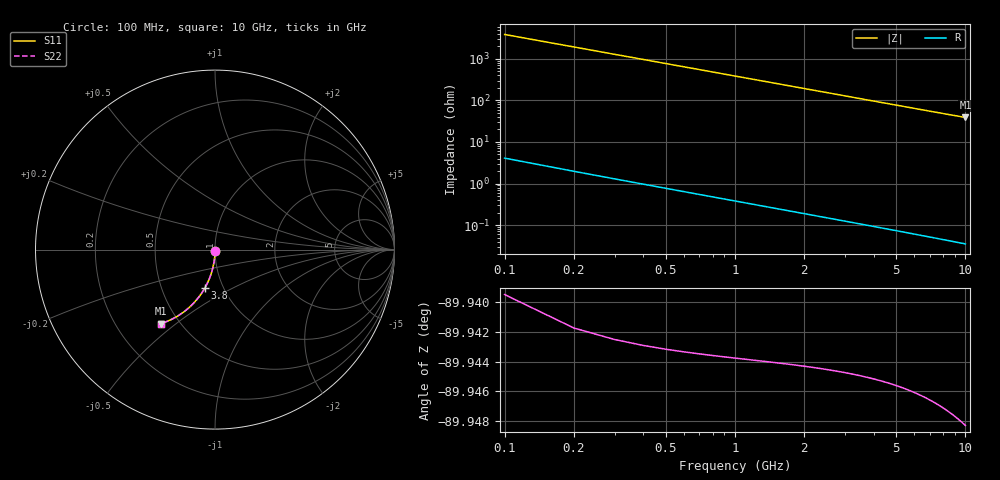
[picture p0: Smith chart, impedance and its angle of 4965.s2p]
# Hz S RI R 50.00
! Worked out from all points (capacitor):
!   100 points, 100 MHz to 10 GHz, reference 50 ohm
!   read as one part in shunt: C = 411 fF near 100 MHz
!   lowest |Z| = 38.9 ohm at 10 GHz (marker M1)
!   S11 on the Smith chart (normalised r, x): 100 MHz: 1.00, -0.01; 3.8 GHz: 0.82, -0.37; 10 GHz: 0.40, -0.44
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1e8  6.82e-05 -0.006  0.9998 -0.00691  0.9998 -0.00691  6.82e-05 -0.006
2e8  -6.16e-05 -0.012  0.9997 -0.0138  0.9997 -0.0138  -6.16e-05 -0.012
3e8  -0.000274 -0.018  0.9995 -0.0207  0.9995 -0.0207  -0.000274 -0.018
4e8  -0.00057 -0.024  0.9992 -0.0276  0.9992 -0.0276  -0.00057 -0.024
5e8  -0.000949 -0.03  0.9988 -0.0345  0.9988 -0.0345  -0.000949 -0.03
6e8  -0.00141 -0.0359  0.9983 -0.0414  0.9983 -0.0414  -0.00141 -0.0359
7e8  -0.00195 -0.0419  0.9978 -0.0483  0.9978 -0.0483  -0.00195 -0.0419
8e8  -0.00258 -0.0479  0.9972 -0.0552  0.9972 -0.0552  -0.00258 -0.0479
9e8  -0.00329 -0.0538  0.9964 -0.062  0.9964 -0.062  -0.00329 -0.0538
1.1e9  -0.00495 -0.0657  0.9948 -0.0757  0.9948 -0.0757  -0.00495 -0.0657
1.4e9  -0.00804 -0.0833  0.9916 -0.0961  0.9916 -0.0961  -0.00804 -0.0833
1.8e9  -0.0133 -0.1066  0.9863 -0.1231  0.9863 -0.1231  -0.0133 -0.1066
2.1e9  -0.018 -0.1238  0.9815 -0.143  0.9815 -0.143  -0.018 -0.1238
2.5e9  -0.0254 -0.1462  0.9741 -0.1692  0.9741 -0.1692  -0.0254 -0.1462
2.9e9  -0.034 -0.1682  0.9654 -0.1948  0.9654 -0.1948  -0.034 -0.1682
3.4e9  -0.0462 -0.1947  0.953 -0.2259  0.953 -0.2259  -0.0462 -0.1947
3.8e9  -0.0572 -0.2151  0.9419 -0.25  0.9419 -0.25  -0.0572 -0.2151
4.4e9  -0.0754 -0.2442  0.9235 -0.2847  0.9235 -0.2847  -0.0754 -0.2442
5.1e9  -0.0991 -0.2756  0.8996 -0.3227  0.8996 -0.3227  -0.0991 -0.2756
6.7e9  -0.1606 -0.3366  0.8372 -0.3987  0.8372 -0.3987  -0.1606 -0.3366
8.4e9  -0.2328 -0.3839  0.7639 -0.4624  0.7639 -0.4624  -0.2328 -0.3839
1e10  -0.3025 -0.4128  0.6928 -0.5068  0.6928 -0.5068  -0.3025 -0.4128
